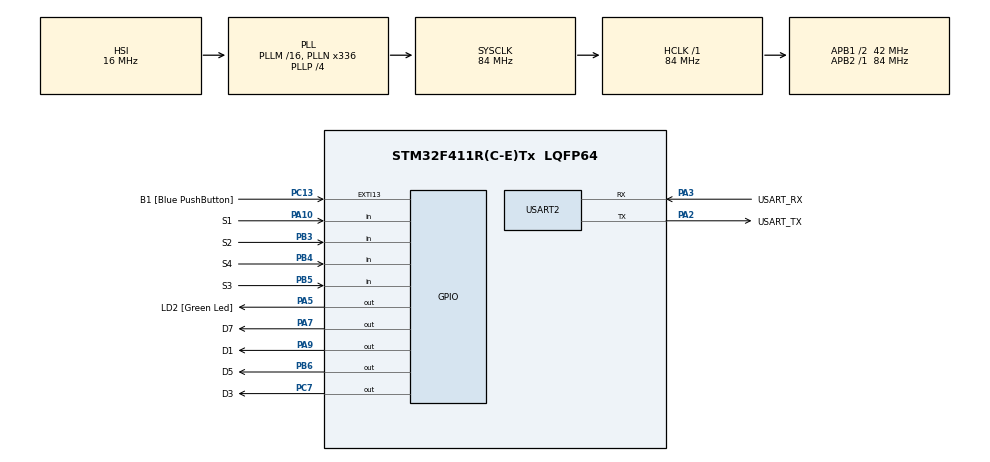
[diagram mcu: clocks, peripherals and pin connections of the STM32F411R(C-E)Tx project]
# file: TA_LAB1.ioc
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Mcu.Family=STM32F4
Mcu.Name=STM32F411R(C-E)Tx
Mcu.Package=LQFP64
NVIC.PriorityGroup=NVIC_PRIORITYGROUP_0
PA10.GPIO_Label=S1
PA10.Signal=GPIO_Input
PA13.GPIO_Label=TMS
PA13.Mode=Serial_Wire
PA13.Signal=SYS_JTMS-SWDIO
PA14.GPIO_Label=TCK
PA14.Mode=Serial_Wire
PA14.Signal=SYS_JTCK-SWCLK
PA2.GPIO_Label=USART_TX
PA2.Mode=Asynchronous
PA2.Signal=USART2_TX
PA3.GPIO_Label=USART_RX
PA3.Mode=Asynchronous
PA3.Signal=USART2_RX
PA5.GPIO_Label=LD2 [Green Led]
PA5.Signal=GPIO_Output
PA7.GPIO_Label=D7
PA7.Signal=GPIO_Output
PA9.GPIO_Label=D1
PA9.Signal=GPIO_Output
PB3.GPIO_Label=S2
PB3.Signal=GPIO_Input
PB4.GPIO_Label=S4
PB4.Signal=GPIO_Input
PB5.GPIO_Label=S3
PB5.Signal=GPIO_Input
PB6.GPIO_Label=D5
PB6.Signal=GPIO_Output
PC13-ANTI_TAMP.GPIO_Label=B1 [Blue PushButton]
PC13-ANTI_TAMP.GPIO_ModeDefaultEXTI=GPIO_MODE_IT_FALLING
PC13-ANTI_TAMP.Signal=GPXTI13
PC14-OSC32_IN.Mode=LSE-External-Oscillator
PC14-OSC32_IN.Signal=RCC_OSC32_IN
PC15-OSC32_OUT.Mode=LSE-External-Oscillator
PC15-OSC32_OUT.Signal=RCC_OSC32_OUT
PC7.GPIO_Label=D3
PC7.Signal=GPIO_Output
PH0\ -\ OSC_IN.Mode=HSE-External-Clock-Source
PH0\ -\ OSC_IN.Signal=RCC_OSC_IN
PH1\ -\ OSC_OUT.Mode=HSE-External-Clock-Source
PH1\ -\ OSC_OUT.Signal=RCC_OSC_OUT
ProjectManager.HeapSize=0x200
ProjectManager.StackSize=0x400
ProjectManager.TargetToolchain=STM32CubeIDE
RCC.48MHZClocksFreq_Value=84000000
RCC.AHBFreq_Value=84000000
RCC.APB1CLKDivider=RCC_HCLK_DIV2
RCC.APB1Freq_Value=42000000
RCC.APB1TimFreq_Value=84000000
RCC.APB2Freq_Value=84000000
RCC.APB2TimFreq_Value=84000000
RCC.CortexFreq_Value=84000000
RCC.FLatency-AdvancedSettings=FLASH_LATENCY_2
RCC.HCLKFreq_Value=84000000
RCC.HSE_VALUE=8000000
RCC.HSI_VALUE=16000000
RCC.PLLN=336
RCC.PLLP=RCC_PLLP_DIV4
RCC.SYSCLKFreq_VALUE=84000000
RCC.SYSCLKSource=RCC_SYSCLKSOURCE_PLLCLK
RCC.VCOOutputFreq_Value=336000000
USART2.VirtualMode=VM_ASYNC
board=NUCLEO-F411RE

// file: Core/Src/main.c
/* USER CODE BEGIN Header */
/**
 ******************************************************************************
 * @file           : main.c
 * @brief          : Main program body
 ******************************************************************************
 * @attention
 *
 * <h2><center>&copy; Copyright (c) 2021 STMicroelectronics.
 * All rights reserved.</center></h2>
 *
 * This software component is licensed by ST under BSD 3-Clause license,
 * the "License"; You may not use this file except in compliance with the
 * License. You may obtain a copy of the License at:
 *                        opensource.org/licenses/BSD-3-Clause
 *
 ******************************************************************************
 */
/* USER CODE END Header */
#include "main.h"

UART_HandleTypeDef huart2;

void SystemClock_Config(void);
static void MX_GPIO_Init(void);
static void MX_USART2_UART_Init(void);
/* USER CODE BEGIN PFP */
void state1(uint16_t time);
void state2(uint8_t state);
void state3(uint8_t state);
void state4(uint8_t duty);
/* USER CODE END PFP */

/* USER CODE BEGIN 0 */
uint16_t d1_freq[4] = { 1000, 500, 250, 167 };
uint8_t duty_cycle[5] = { 0, 25, 50, 75, 100 };
uint8_t sw1_state = 0;
uint8_t sw2_state = 0;
uint8_t sw3_state = 0;
uint8_t sw4_state = 0;
uint8_t sw1_count = 0;
uint8_t sw2_toggle = 0;
uint8_t sw3_toggle = 0;
uint8_t sw4_count = 0;
uint32_t timestamp1 = 0;
uint32_t timestamp2_1 = 0;
uint32_t timestamp2_2 = 0;
uint32_t timestamp3_1 = 0;
uint32_t timestamp3_2 = 0;
uint8_t ton = 0;
uint8_t toff = 0;
uint32_t samp = 0;
void state1(uint16_t time) {
	if (HAL_GetTick() - timestamp1 >= time) {
		timestamp1 = HAL_GetTick();
		if (HAL_GPIO_ReadPin(GPIOA, GPIO_PIN_9) == GPIO_PIN_SET) {
			HAL_GPIO_WritePin(GPIOA, GPIO_PIN_9, GPIO_PIN_RESET);
		} else {
			HAL_GPIO_WritePin(GPIOA, GPIO_PIN_9, GPIO_PIN_SET);
		}
	}
}
void state2(uint8_t toggle) {
	if (toggle == 0) {
		HAL_GPIO_WritePin(GPIOC, GPIO_PIN_7, GPIO_PIN_SET);
	} else {
		HAL_GPIO_WritePin(GPIOC, GPIO_PIN_7, GPIO_PIN_RESET);
	}
}
void state3(uint8_t state) {
	if (state == 0) {
		if (HAL_GetTick() - timestamp2_1 >= 1500) {
			timestamp2_1 = HAL_GetTick();
			HAL_GPIO_WritePin(GPIOB, GPIO_PIN_6, GPIO_PIN_SET);
		}
		if (HAL_GetTick() - timestamp2_2 >= 500) {
			timestamp2_2 = HAL_GetTick();
			HAL_GPIO_WritePin(GPIOB, GPIO_PIN_6, GPIO_PIN_RESET);
		}
	} else {
		if (HAL_GetTick() - timestamp2_1 >= 500) {
			timestamp2_1 = HAL_GetTick();
			HAL_GPIO_WritePin(GPIOB, GPIO_PIN_6, GPIO_PIN_SET);
		}
		if (HAL_GetTick() - timestamp2_2 >= 1500) {
			timestamp2_2 = HAL_GetTick();
			HAL_GPIO_WritePin(GPIOB, GPIO_PIN_6, GPIO_PIN_RESET);
		}
	}
}
void state4(uint8_t duty) {
		ton = (10 * duty) / 100; // 100 hz eq = (1/100)*1000*duty/100
		toff = 10 - ton;
		if (HAL_GetTick() - timestamp3_1 >= ton) {
			timestamp3_1 = HAL_GetTick();
			HAL_GPIO_WritePin(GPIOA, GPIO_PIN_7, GPIO_PIN_SET);
		}
		if (HAL_GetTick() - timestamp3_2 >= toff) {
			timestamp3_2 = HAL_GetTick();
			HAL_GPIO_WritePin(GPIOA, GPIO_PIN_7, GPIO_PIN_RESET);
		}
}
/* USER CODE END 0 */

int main(void) {

	/* MCU Configuration--------------------------------------------------------*/

	/* Reset of all peripherals, Initializes the Flash interface and the Systick. */
	HAL_Init();

	/* Configure the system clock */
	SystemClock_Config();

	/* Initialize all configured peripherals */
	MX_GPIO_Init();
	MX_USART2_UART_Init();
	/* USER CODE BEGIN 2 */
	HAL_GPIO_WritePin(GPIOB, GPIO_PIN_6, GPIO_PIN_RESET);
	/* USER CODE END 2 */

	/* Infinite loop */
	while (1) {

		/* USER CODE BEGIN 3 */
		if (HAL_GetTick() - samp >= 250) {
			samp = HAL_GetTick();
			if (HAL_GPIO_ReadPin(GPIOA, GPIO_PIN_10) == 0) {
				sw1_count = sw1_count + 1;
			}
			if (HAL_GPIO_ReadPin(GPIOB, GPIO_PIN_3) == 0) {
				sw2_toggle = sw2_toggle + 1;
			}
			if (HAL_GPIO_ReadPin(GPIOB, GPIO_PIN_5) == 0) {
				sw3_toggle = sw3_toggle + 1;
			}
			if (HAL_GPIO_ReadPin(GPIOB, GPIO_PIN_4) == 0) {
				sw4_count = sw4_count + 1;
			}
		}
		state1(d1_freq[sw1_count % 4]);
		state2(sw2_toggle % 2);
		state3(sw3_toggle % 2);
		state4(duty_cycle[sw4_count%5]);
	}
	/* USER CODE END 3 */
}

void SystemClock_Config(void)
{
  RCC_OscInitTypeDef RCC_OscInitStruct = {0};
  RCC_ClkInitTypeDef RCC_ClkInitStruct = {0};

  /** Configure the main internal regulator output voltage
  */
  __HAL_RCC_PWR_CLK_ENABLE();
  __HAL_PWR_VOLTAGESCALING_CONFIG(PWR_REGULATOR_VOLTAGE_SCALE1);
  /** Initializes the RCC Oscillators according to the specified parameters
  * in the RCC_OscInitTypeDef structure.
  */
  RCC_OscInitStruct.OscillatorType = RCC_OSCILLATORTYPE_HSI;
  RCC_OscInitStruct.HSIState = RCC_HSI_ON;
  RCC_OscInitStruct.HSICalibrationValue = RCC_HSICALIBRATION_DEFAULT;
  RCC_OscInitStruct.PLL.PLLState = RCC_PLL_ON;
  RCC_OscInitStruct.PLL.PLLSource = RCC_PLLSOURCE_HSI;
  RCC_OscInitStruct.PLL.PLLM = 16;
  RCC_OscInitStruct.PLL.PLLN = 336;
  RCC_OscInitStruct.PLL.PLLP = RCC_PLLP_DIV4;
  RCC_OscInitStruct.PLL.PLLQ = 4;
  if (HAL_RCC_OscConfig(&RCC_OscInitStruct) != HAL_OK)
  {
    Error_Handler();
  }
  /** Initializes the CPU, AHB and APB buses clocks
  */
  RCC_ClkInitStruct.ClockType = RCC_CLOCKTYPE_HCLK|RCC_CLOCKTYPE_SYSCLK
                              |RCC_CLOCKTYPE_PCLK1|RCC_CLOCKTYPE_PCLK2;
  RCC_ClkInitStruct.SYSCLKSource = RCC_SYSCLKSOURCE_PLLCLK;
  RCC_ClkInitStruct.AHBCLKDivider = RCC_SYSCLK_DIV1;
  RCC_ClkInitStruct.APB1CLKDivider = RCC_HCLK_DIV2;
  RCC_ClkInitStruct.APB2CLKDivider = RCC_HCLK_DIV1;

  if (HAL_RCC_ClockConfig(&RCC_ClkInitStruct, FLASH_LATENCY_2) != HAL_OK)
  {
    Error_Handler();
  }
}

static void MX_USART2_UART_Init(void)
{

  huart2.Instance = USART2;
  huart2.Init.BaudRate = 115200;
  huart2.Init.WordLength = UART_WORDLENGTH_8B;
  huart2.Init.StopBits = UART_STOPBITS_1;
  huart2.Init.Parity = UART_PARITY_NONE;
  huart2.Init.Mode = UART_MODE_TX_RX;
  huart2.Init.HwFlowCtl = UART_HWCONTROL_NONE;
  huart2.Init.OverSampling = UART_OVERSAMPLING_16;
  if (HAL_UART_Init(&huart2) != HAL_OK)
  {
    Error_Handler();
  }

}

static void MX_GPIO_Init(void)
{
  GPIO_InitTypeDef GPIO_InitStruct = {0};

  /* GPIO Ports Clock Enable */
  __HAL_RCC_GPIOC_CLK_ENABLE();
  __HAL_RCC_GPIOH_CLK_ENABLE();
  __HAL_RCC_GPIOA_CLK_ENABLE();
  __HAL_RCC_GPIOB_CLK_ENABLE();

  /*Configure GPIO pin Output Level */
  HAL_GPIO_WritePin(GPIOA, LD2_Pin|D7_Pin|D1_Pin, GPIO_PIN_RESET);

  /*Configure GPIO pin Output Level */
  HAL_GPIO_WritePin(D3_GPIO_Port, D3_Pin, GPIO_PIN_RESET);

  /*Configure GPIO pin Output Level */
  HAL_GPIO_WritePin(D5_GPIO_Port, D5_Pin, GPIO_PIN_RESET);

  /*Configure GPIO pin : B1_Pin */
  GPIO_InitStruct.Pin = B1_Pin;
  GPIO_InitStruct.Mode = GPIO_MODE_IT_FALLING;
  GPIO_InitStruct.Pull = GPIO_NOPULL;
  HAL_GPIO_Init(B1_GPIO_Port, &GPIO_InitStruct);

  /*Configure GPIO pins : LD2_Pin D7_Pin D1_Pin */
  GPIO_InitStruct.Pin = LD2_Pin|D7_Pin|D1_Pin;
  GPIO_InitStruct.Mode = GPIO_MODE_OUTPUT_PP;
  GPIO_InitStruct.Pull = GPIO_NOPULL;
  GPIO_InitStruct.Speed = GPIO_SPEED_FREQ_LOW;
  HAL_GPIO_Init(GPIOA, &GPIO_InitStruct);

  /*Configure GPIO pin : D3_Pin */
  GPIO_InitStruct.Pin = D3_Pin;
  GPIO_InitStruct.Mode = GPIO_MODE_OUTPUT_PP;
  GPIO_InitStruct.Pull = GPIO_NOPULL;
  GPIO_InitStruct.Speed = GPIO_SPEED_FREQ_LOW;
  HAL_GPIO_Init(D3_GPIO_Port, &GPIO_InitStruct);

  /*Configure GPIO pin : S1_Pin */
  GPIO_InitStruct.Pin = S1_Pin;
  GPIO_InitStruct.Mode = GPIO_MODE_INPUT;
  GPIO_InitStruct.Pull = GPIO_NOPULL;
  HAL_GPIO_Init(S1_GPIO_Port, &GPIO_InitStruct);

  /*Configure GPIO pins : S2_Pin S4_Pin S3_Pin */
  GPIO_InitStruct.Pin = S2_Pin|S4_Pin|S3_Pin;
  GPIO_InitStruct.Mode = GPIO_MODE_INPUT;
  GPIO_InitStruct.Pull = GPIO_NOPULL;
  HAL_GPIO_Init(GPIOB, &GPIO_InitStruct);

  /*Configure GPIO pin : D5_Pin */
  GPIO_InitStruct.Pin = D5_Pin;
  GPIO_InitStruct.Mode = GPIO_MODE_OUTPUT_PP;
  GPIO_InitStruct.Pull = GPIO_NOPULL;
  GPIO_InitStruct.Speed = GPIO_SPEED_FREQ_LOW;
  HAL_GPIO_Init(D5_GPIO_Port, &GPIO_InitStruct);

}

void Error_Handler(void)
{
	__disable_irq();
	while (1) {
	}
}

/************************ (C) COPYRIGHT STMicroelectronics *****END OF FILE****/
